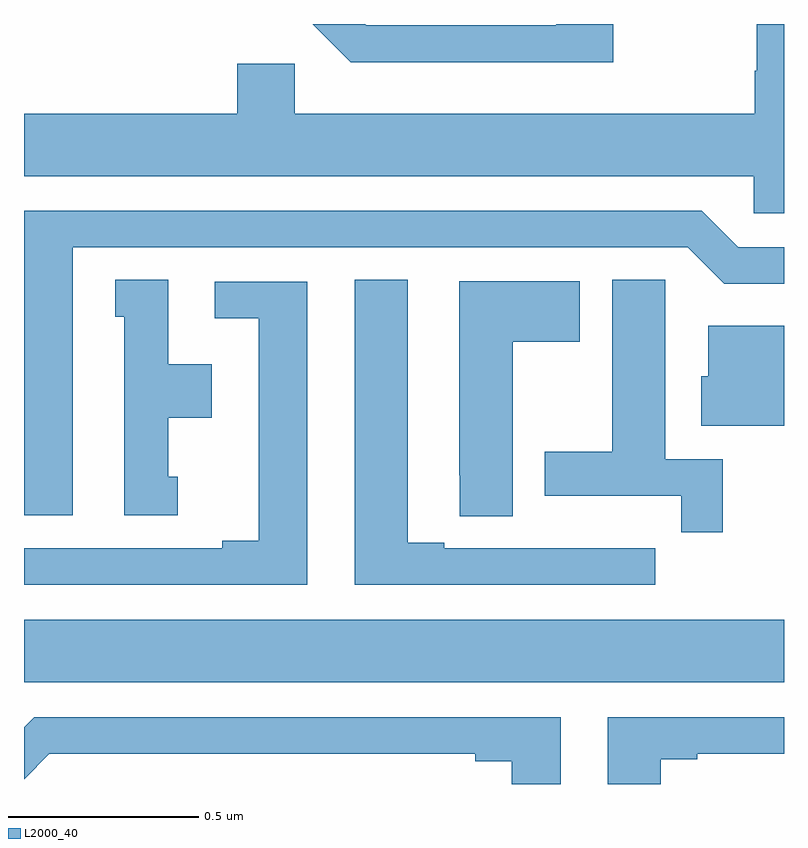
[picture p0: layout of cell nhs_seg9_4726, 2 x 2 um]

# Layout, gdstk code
import gdstk
lib = gdstk.Library(unit=1e-6, precision=1e-09)
def R(c, l, rs):  # rectangles x0, y0, x1, y1
    for r in rs: c.add(gdstk.rectangle(r[:2], r[2:], *l))
def P(c, l, *ps):  # polygons
    for p in ps: c.add(gdstk.Polygon(p, *l))
L2000_40 = (2000, 40)

nhs_seg9_4726 = lib.new_cell('nhs_seg9_4726')
R(nhs_seg9_4726, L2000_40, [(170,1181.768,172,1181.932)])
P(nhs_seg9_4726, L2000_40, [(171.55,1183.5),(171.401,1183.5),(171.401,1183.497),(170.901,1183.497),(170.898,1183.5),(170.76,1183.5),(170.86,1183.4),(171.55,1183.4)],
  [(172,1183.5),(171.928,1183.5),(171.928,1183.377),(171.923,1183.377),(171.923,1183.264),(170.712,1183.264),(170.712,1183.396),(170.561,1183.396),(170.561,1183.264),(170,1183.264),(170,1183.1),(171.921,1183.1),(171.921,1183.002),(172,1183.002)],
  [(170.128,1182.912),(171.747,1182.912),(171.843,1182.816),(172,1182.816),(172,1182.912),(171.879,1182.912),(171.783,1183.008),(170,1183.008),(170,1182.207),(170.128,1182.207)],
  [(171.661,1182.12),(171.548,1182.12),(171.548,1182.121),(171.382,1182.121),(171.382,1182.12),(171.106,1182.12),(171.106,1182.135),(171.01,1182.135),(171.01,1182.827),(170.87,1182.827),(170.87,1182.024),(171.661,1182.024)],
  [(170.404,1182.309),(170.38,1182.309),(170.38,1182.464),(170.494,1182.464),(170.494,1182.604),(170.38,1182.604),(170.38,1182.827),(170.24,1182.827),(170.24,1182.729),(170.264,1182.729),(170.264,1182.207),(170.404,1182.207)],
  [(171.839,1182.354),(171.688,1182.354),(171.688,1182.716),(171.687,1182.716),(171.687,1182.827),(171.548,1182.827),(171.548,1182.375),(171.371,1182.375),(171.371,1182.258),(171.73,1182.258),(171.73,1182.162),(171.839,1182.162)],
  [(171.286,1182.664),(171.463,1182.664),(171.463,1182.823),(171.146,1182.823),(171.146,1182.313),(171.147,1182.313),(171.147,1182.205),(171.286,1182.205)],
  [(170.746,1182.822),(170.502,1182.822),(170.502,1182.726),(170.618,1182.726),(170.618,1182.14),(170.522,1182.14),(170.522,1182.12),(170,1182.12),(170,1182.024),(170.746,1182.024)],
  [(172,1182.706),(171.8,1182.706),(171.8,1182.573),(171.782,1182.573),(171.782,1182.443),(172,1182.443)],
  [(171.676,1181.565),(171.772,1181.565),(171.772,1181.58),(172,1181.58),(172,1181.676),(171.536,1181.676),(171.536,1181.5),(171.676,1181.5)],
  [(171.412,1181.676),(170.027,1181.676),(170,1181.649),(170,1181.513),(170.067,1181.58),(171.188,1181.58),(171.188,1181.56),(171.284,1181.56),(171.284,1181.5),(171.412,1181.5)])

lib.write_gds('nhs_seg9_4726.gds')
